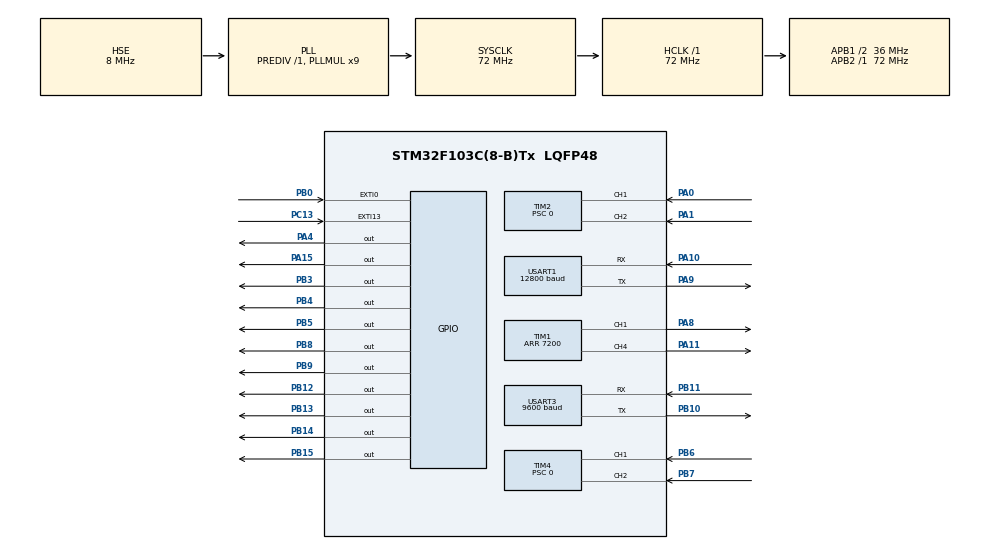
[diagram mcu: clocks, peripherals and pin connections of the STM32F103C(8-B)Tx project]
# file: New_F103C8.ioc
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FREERTOS.HEAP_NUMBER=4
FREERTOS.INCLUDE_vTaskDelayUntil=1
FREERTOS.Tasks01=defaultTask,0,128,StartDefaultTask,Default,NULL,Dynamic,NULL,NULL;TaskMain,0,512,task_main,Default,NULL,Dynamic,NULL,NULL;TaskLcd,-2,128,task_lcd,Default,NULL,Dynamic,NULL,NULL
FREERTOS.configGENERATE_RUN_TIME_STATS=1
FREERTOS.configMAX_TASK_NAME_LEN=32
FREERTOS.configMINIMAL_STACK_SIZE=64
FREERTOS.configTOTAL_HEAP_SIZE=5000
FREERTOS.configUSE_DAEMON_TASK_STARTUP_HOOK=1
FREERTOS.configUSE_IDLE_HOOK=1
FREERTOS.configUSE_MALLOC_FAILED_HOOK=1
FREERTOS.configUSE_STATS_FORMATTING_FUNCTIONS=1
FREERTOS.configUSE_TICKLESS_IDLE=2
FREERTOS.configUSE_TICK_HOOK=1
FREERTOS.configUSE_TIMERS=1
FREERTOS.configUSE_TRACE_FACILITY=1
Mcu.Family=STM32F1
Mcu.Name=STM32F103C(8-B)Tx
Mcu.Package=LQFP48
NVIC.EXTI0_IRQn=true\:0\:0\:false\:false\:true\:false\:true\:true
NVIC.EXTI15_10_IRQn=true\:5\:0\:false\:false\:true\:true\:true\:true
NVIC.PriorityGroup=NVIC_PRIORITYGROUP_4
NVIC.TIM2_IRQn=true\:5\:0\:false\:false\:true\:true\:true\:true
NVIC.TIM3_IRQn=true\:5\:0\:false\:false\:true\:true\:true\:true
NVIC.TIM4_IRQn=true\:5\:0\:false\:false\:true\:true\:true\:true
PA0-WKUP.Signal=S_TIM2_CH1_ETR
PA1.Signal=S_TIM2_CH2
PA10.Mode=Asynchronous
PA10.Signal=USART1_RX
PA11.GPIO_Speed=GPIO_SPEED_FREQ_HIGH
PA11.Signal=S_TIM1_CH4
PA13.Mode=Serial_Wire
PA13.Signal=SYS_JTMS-SWDIO
PA14.Mode=Serial_Wire
PA14.Signal=SYS_JTCK-SWCLK
PA15.Signal=GPIO_Output
PA4.GPIO_Speed=GPIO_SPEED_FREQ_HIGH
PA4.Signal=GPIO_Output
PA8.GPIO_Speed=GPIO_SPEED_FREQ_HIGH
PA8.Signal=S_TIM1_CH1
PA9.Mode=Asynchronous
PA9.Signal=USART1_TX
PB0.Signal=GPXTI0
PB10.Mode=Asynchronous
PB10.Signal=USART3_TX
PB11.Mode=Asynchronous
PB11.Signal=USART3_RX
PB12.GPIO_Speed=GPIO_SPEED_FREQ_HIGH
PB12.Signal=GPIO_Output
PB13.GPIO_Speed=GPIO_SPEED_FREQ_HIGH
PB13.Signal=GPIO_Output
PB14.GPIO_Speed=GPIO_SPEED_FREQ_HIGH
PB14.Signal=GPIO_Output
PB15.GPIO_Speed=GPIO_SPEED_FREQ_HIGH
PB15.Signal=GPIO_Output
PB3.Signal=GPIO_Output
PB4.Signal=GPIO_Output
PB5.Signal=GPIO_Output
PB6.Signal=S_TIM4_CH1
PB7.Signal=S_TIM4_CH2
PB8.GPIO_Speed=GPIO_SPEED_FREQ_HIGH
PB8.Signal=GPIO_Output
PB9.GPIO_Speed=GPIO_SPEED_FREQ_HIGH
PB9.Signal=GPIO_Output
PC13-TAMPER-RTC.Signal=GPXTI13
PC14-OSC32_IN.Mode=LSE-External-Oscillator
PC14-OSC32_IN.Signal=RCC_OSC32_IN
PC15-OSC32_OUT.Mode=LSE-External-Oscillator
PC15-OSC32_OUT.Signal=RCC_OSC32_OUT
PD0-OSC_IN.Mode=HSE-External-Oscillator
PD0-OSC_IN.Signal=RCC_OSC_IN
PD1-OSC_OUT.Mode=HSE-External-Oscillator
PD1-OSC_OUT.Signal=RCC_OSC_OUT
ProjectManager.HeapSize=0x200
ProjectManager.StackSize=0x400
ProjectManager.TargetToolchain=MDK-ARM V5
RCC.AHBFreq_Value=72000000
RCC.APB1CLKDivider=RCC_HCLK_DIV2
RCC.APB1Freq_Value=36000000
RCC.APB1TimFreq_Value=72000000
RCC.APB2Freq_Value=72000000
RCC.APB2TimFreq_Value=72000000
RCC.HCLKFreq_Value=72000000
RCC.PLLMUL=RCC_PLL_MUL9
RCC.PLLSourceVirtual=RCC_PLLSOURCE_HSE
RCC.SYSCLKFreq_VALUE=72000000
RCC.SYSCLKSource=RCC_SYSCLKSOURCE_PLLCLK
RCC.USBFreq_Value=72000000
SH.S_TIM1_CH1.0=TIM1_CH1,PWM Generation1 CH1
SH.S_TIM1_CH4.0=TIM1_CH4,PWM Generation4 CH4
SH.S_TIM2_CH1_ETR.0=TIM2_CH1,Encoder_Interface
SH.S_TIM2_CH2.0=TIM2_CH2,Encoder_Interface
SH.S_TIM4_CH1.0=TIM4_CH1,Encoder_Interface
SH.S_TIM4_CH2.0=TIM4_CH2,Encoder_Interface
TIM1.Channel-PWM\ Generation1\ CH1=TIM_CHANNEL_1
TIM1.Channel-PWM\ Generation4\ CH4=TIM_CHANNEL_4
TIM1.Period=7200
TIM1.Pulse-PWM\ Generation1\ CH1=100
TIM1.Pulse-PWM\ Generation4\ CH4=101
TIM2.EncoderMode=TIM_ENCODERMODE_TI12
TIM2.IC1Filter=15
TIM2.IC2Filter=15
TIM2.Period=0xffff
TIM2.Prescaler=0
TIM3.Period=4999
TIM3.Prescaler=71
TIM4.EncoderMode=TIM_ENCODERMODE_TI12
TIM4.IC1Filter=15
TIM4.IC2Filter=15
TIM4.Period=0xffff
TIM4.Prescaler=0
USART1.BaudRate=12800
USART1.VirtualMode=VM_ASYNC
USART3.BaudRate=9600
USART3.VirtualMode=VM_ASYNC
VP_FREERTOS_VS_CMSIS_V1.Mode=CMSIS_V1
VP_TIM1_VS_ClockSourceINT.Mode=Internal
VP_TIM3_VS_ClockSourceINT.Mode=Internal
board=custom

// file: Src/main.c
/* USER CODE BEGIN Header */
/**
  ******************************************************************************
  * @file           : main.c
  * @brief          : Main program body
  ******************************************************************************
  * @attention
  *
  * <h2><center>&copy; Copyright (c) 2019 STMicroelectronics.
  * All rights reserved.</center></h2>
  *
  * This software component is licensed by ST under BSD 3-Clause license,
  * the "License"; You may not use this file except in compliance with the
  * License. You may obtain a copy of the License at:
  *                        opensource.org/licenses/BSD-3-Clause
  *
  ******************************************************************************
  */
/* USER CODE END Header */

#include "main.h"
#include "cmsis_os.h"
#include "tim.h"
#include "usart.h"
#include "gpio.h"

/* USER CODE BEGIN Includes */
#include "test.h"

/* USER CODE END Includes */

void SystemClock_Config(void);
void MX_FREERTOS_Init(void);

/* USER CODE BEGIN 0 */

#define delay_ms    HAL_Delay

TYPE_MPU6050 gMpu = {0};

/* USER CODE END 0 */

int main(void)
{

  /* MCU Configuration--------------------------------------------------------*/

  /* Reset of all peripherals, Initializes the Flash interface and the Systick. */
  HAL_Init();

  /* Configure the system clock */
  SystemClock_Config();

  /* Initialize all configured peripherals */
  MX_GPIO_Init();
  MX_TIM4_Init();
  MX_TIM1_Init();
  MX_TIM2_Init();
  MX_TIM3_Init();
  MX_USART1_UART_Init();
  MX_USART3_UART_Init();
  /* USER CODE BEGIN 2 */

    HAL_TIM_Base_Start_IT(&htim3);
    HAL_TIM_IC_Start_IT(&htim2, TIM_CHANNEL_1);
    HAL_TIM_IC_Start_IT(&htim2, TIM_CHANNEL_2);

    HAL_TIM_IC_Start_IT(&htim4, TIM_CHANNEL_1);
    HAL_TIM_IC_Start_IT(&htim4, TIM_CHANNEL_2);

    moto_dir_ctrl(1, 1);

    pid_init(&pid_l, -80, -0.4, 0, 10000);
    pid_init(&pid_r, -80, -0.4, 0, 10000);
    pid_init(&pid_balance, 850*0.6, 0, 22*0.6, 0);

//    pid_init(&pid_balance, 700, 0, 12, 0);

    OLED_Init();
    OLED_ShowString(0, 0, "  HELLO WORLD!  ");
    OLED_Refresh_Gram();

    MPU_Init();					//初始化MPU6050

    while(mpu_dmp_init())
    {

        delay_ms(1000);
    }

  /* USER CODE END 2 */

  /* Call init function for freertos objects (in freertos.c) */
  MX_FREERTOS_Init();
  /* Start scheduler */
  osKernelStart();

  /* We should never get here as control is now taken by the scheduler */
  /* Infinite loop */
    while (1)
    {

    }
}

void SystemClock_Config(void)
{
  RCC_OscInitTypeDef RCC_OscInitStruct = {0};
  RCC_ClkInitTypeDef RCC_ClkInitStruct = {0};

  /** Initializes the CPU, AHB and APB busses clocks
  */
  RCC_OscInitStruct.OscillatorType = RCC_OSCILLATORTYPE_HSE;
  RCC_OscInitStruct.HSEState = RCC_HSE_ON;
  RCC_OscInitStruct.HSEPredivValue = RCC_HSE_PREDIV_DIV1;
  RCC_OscInitStruct.HSIState = RCC_HSI_ON;
  RCC_OscInitStruct.PLL.PLLState = RCC_PLL_ON;
  RCC_OscInitStruct.PLL.PLLSource = RCC_PLLSOURCE_HSE;
  RCC_OscInitStruct.PLL.PLLMUL = RCC_PLL_MUL9;
  if (HAL_RCC_OscConfig(&RCC_OscInitStruct) != HAL_OK)
  {
    Error_Handler();
  }
  /** Initializes the CPU, AHB and APB busses clocks
  */
  RCC_ClkInitStruct.ClockType = RCC_CLOCKTYPE_HCLK|RCC_CLOCKTYPE_SYSCLK
                              |RCC_CLOCKTYPE_PCLK1|RCC_CLOCKTYPE_PCLK2;
  RCC_ClkInitStruct.SYSCLKSource = RCC_SYSCLKSOURCE_PLLCLK;
  RCC_ClkInitStruct.AHBCLKDivider = RCC_SYSCLK_DIV1;
  RCC_ClkInitStruct.APB1CLKDivider = RCC_HCLK_DIV2;
  RCC_ClkInitStruct.APB2CLKDivider = RCC_HCLK_DIV1;

  if (HAL_RCC_ClockConfig(&RCC_ClkInitStruct, FLASH_LATENCY_2) != HAL_OK)
  {
    Error_Handler();
  }
}

void Error_Handler(void)
{
}

/************************ (C) COPYRIGHT STMicroelectronics *****END OF FILE****/

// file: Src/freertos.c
/* USER CODE BEGIN Header */
/**
  ******************************************************************************
  * File Name          : freertos.c
  * Description        : Code for freertos applications
  ******************************************************************************
  * @attention
  *
  * <h2><center>&copy; Copyright (c) 2019 STMicroelectronics.
  * All rights reserved.</center></h2>
  *
  * This software component is licensed by ST under Ultimate Liberty license
  * SLA0044, the "License"; You may not use this file except in compliance with
  * the License. You may obtain a copy of the License at:
  *                             www.st.com/SLA0044
  *
  ******************************************************************************
  */
/* USER CODE END Header */

#include "FreeRTOS.h"
#include "task.h"
#include "main.h"
#include "cmsis_os.h"

osThreadId defaultTaskHandle;
osThreadId TaskMainHandle;
osThreadId TaskLcdHandle;

void StartDefaultTask(void const * argument);
void task_main(void const * argument);
void task_lcd(void const * argument);

void MX_FREERTOS_Init(void); /* (MISRA C 2004 rule 8.1) */

/* GetIdleTaskMemory prototype (linked to static allocation support) */
void vApplicationGetIdleTaskMemory( StaticTask_t **ppxIdleTaskTCBBuffer, StackType_t **ppxIdleTaskStackBuffer, uint32_t *pulIdleTaskStackSize );

/* GetTimerTaskMemory prototype (linked to static allocation support) */
void vApplicationGetTimerTaskMemory( StaticTask_t **ppxTimerTaskTCBBuffer, StackType_t **ppxTimerTaskStackBuffer, uint32_t *pulTimerTaskStackSize );

/* Hook prototypes */
void configureTimerForRunTimeStats(void);
unsigned long getRunTimeCounterValue(void);
void vApplicationIdleHook(void);
void vApplicationTickHook(void);
void vApplicationMallocFailedHook(void);
void vApplicationDaemonTaskStartupHook(void);

/* USER CODE BEGIN 1 */
/* Functions needed when configGENERATE_RUN_TIME_STATS is on */
__weak void configureTimerForRunTimeStats(void)
{

}

__weak unsigned long getRunTimeCounterValue(void)
{
    return 0;
}
/* USER CODE END 1 */

/* USER CODE BEGIN 2 */
__weak void vApplicationIdleHook( void )
{

    /* vApplicationIdleHook() will only be called if configUSE_IDLE_HOOK is set
    to 1 in FreeRTOSConfig.h. It will be called on each iteration of the idle
    task. It is essential that code added to this hook function never attempts
    to block in any way (for example, call xQueueReceive() with a block time
    specified, or call vTaskDelay()). If the application makes use of the
    vTaskDelete() API function (as this demo application does) then it is also
    important that vApplicationIdleHook() is permitted to return to its calling
    function, because it is the responsibility of the idle task to clean up
    memory allocated by the kernel to any task that has since been deleted. */
}
/* USER CODE END 2 */

/* USER CODE BEGIN 3 */
__weak void vApplicationTickHook( void )
{
    /* This function will be called by each tick interrupt if
    configUSE_TICK_HOOK is set to 1 in FreeRTOSConfig.h. User code can be
    added here, but the tick hook is called from an interrupt context, so
    code must not attempt to block, and only the interrupt safe FreeRTOS API
    functions can be used (those that end in FromISR()). */
}
/* USER CODE END 3 */

/* USER CODE BEGIN 5 */
__weak void vApplicationMallocFailedHook(void)
{
    /* vApplicationMallocFailedHook() will only be called if
    configUSE_MALLOC_FAILED_HOOK is set to 1 in FreeRTOSConfig.h. It is a hook
    function that will get called if a call to pvPortMalloc() fails.
    pvPortMalloc() is called internally by the kernel whenever a task, queue,
    timer or semaphore is created. It is also called by various parts of the
    demo application. If heap_1.c or heap_2.c are used, then the size of the
    heap available to pvPortMalloc() is defined by configTOTAL_HEAP_SIZE in
    FreeRTOSConfig.h, and the xPortGetFreeHeapSize() API function can be used
    to query the size of free heap space that remains (although it does not
    provide information on how the remaining heap might be fragmented). */
}
/* USER CODE END 5 */

/* USER CODE BEGIN DAEMON_TASK_STARTUP_HOOK */
void vApplicationDaemonTaskStartupHook(void)
{
}
/* USER CODE END DAEMON_TASK_STARTUP_HOOK */

/* USER CODE BEGIN VPORT_SUPPORT_TICKS_AND_SLEEP */
__weak void vPortSuppressTicksAndSleep( TickType_t xExpectedIdleTime )
{
    // Generated when configUSE_TICKLESS_IDLE == 2.
    // Function called in tasks.c (in portTASK_FUNCTION).
    // TO BE COMPLETED or TO BE REPLACED by a user one, overriding that weak one.
}
/* USER CODE END VPORT_SUPPORT_TICKS_AND_SLEEP */

/* USER CODE BEGIN GET_IDLE_TASK_MEMORY */
static StaticTask_t xIdleTaskTCBBuffer;
static StackType_t xIdleStack[configMINIMAL_STACK_SIZE];

void vApplicationGetIdleTaskMemory( StaticTask_t **ppxIdleTaskTCBBuffer, StackType_t **ppxIdleTaskStackBuffer, uint32_t *pulIdleTaskStackSize )
{
  *ppxIdleTaskTCBBuffer = &xIdleTaskTCBBuffer;
  *ppxIdleTaskStackBuffer = &xIdleStack[0];
  *pulIdleTaskStackSize = configMINIMAL_STACK_SIZE;
  /* place for user code */
}
/* USER CODE END GET_IDLE_TASK_MEMORY */

/* USER CODE BEGIN GET_TIMER_TASK_MEMORY */
static StaticTask_t xTimerTaskTCBBuffer;
static StackType_t xTimerStack[configTIMER_TASK_STACK_DEPTH];

void vApplicationGetTimerTaskMemory( StaticTask_t **ppxTimerTaskTCBBuffer, StackType_t **ppxTimerTaskStackBuffer, uint32_t *pulTimerTaskStackSize )
{
  *ppxTimerTaskTCBBuffer = &xTimerTaskTCBBuffer;
  *ppxTimerTaskStackBuffer = &xTimerStack[0];
  *pulTimerTaskStackSize = configTIMER_TASK_STACK_DEPTH;
  /* place for user code */
}
/* USER CODE END GET_TIMER_TASK_MEMORY */

void MX_FREERTOS_Init(void) {

  /* Create the thread(s) */
  /* definition and creation of defaultTask */
  osThreadDef(defaultTask, StartDefaultTask, osPriorityNormal, 0, 128);
  defaultTaskHandle = osThreadCreate(osThread(defaultTask), NULL);

  /* definition and creation of TaskMain */
  osThreadDef(TaskMain, task_main, osPriorityNormal, 0, 512);
  TaskMainHandle = osThreadCreate(osThread(TaskMain), NULL);

  /* definition and creation of TaskLcd */
  osThreadDef(TaskLcd, task_lcd, osPriorityLow, 0, 128);
  TaskLcdHandle = osThreadCreate(osThread(TaskLcd), NULL);

}

void StartDefaultTask(void const * argument)
{
    for(;;)
    {
        osDelay(1);
    }
}

void task_main(void const * argument)
{
  /* USER CODE BEGIN task_main */
    short Gyro_X;
    short Gyro_Y;
    short Gyro_Z;

    static uint32_t task_main_cnt = 0;
    static uint32_t start_cnt = 0;
    static int pwm_offset = 500;	//电机死区
    /* Infinite loop */
    for(;;)
    {

        task_main_cnt++;
        start_cnt++;
        if(task_main_cnt % 2 == 0)
        {
            moto_get_speed(LEFT);
            moto_get_speed(RIGHT);
        }

        //读取陀螺仪数据
        if(mpu_dmp_get_data(&gMpu.euler.pitch, &gMpu.euler.roll, &gMpu.euler.yaw) == 0)
        {
            gMpu.temp = MPU_Get_Temperature() / 100.0;		//得到温度值
            MPU_Get_Accelerometer(&gMpu.accel.x, &gMpu.accel.y, &gMpu.accel.z);	//得到加速度传感器数据
            MPU_Get_Gyroscope(&Gyro_X, &Gyro_Y, &Gyro_Z);		//得到陀螺仪数据

            gMpu.gyro.x = Gyro_X;
            gMpu.gyro.y = Gyro_Y;
            gMpu.gyro.z = Gyro_Z;

            //获得倾角
            get_angle(2);
            //PWM清零
            gMotor_r.pwm_cnt = 0;
            gMotor_l.pwm_cnt = 0;

            //平衡环
            balance_ctrl(gMpu.balance_angle, gMpu.gyro.x);

            //速度环
            speed_ctrl();

            //确定转动方向
            if(gMotor_r.pwm_cnt > 0)
            {
                gMotor_r.direction = 1;
                gMotor_l.direction = 1;

                gMotor_r.pwm_cnt += pwm_offset;//电机死区
                gMotor_l.pwm_cnt += pwm_offset;

                //设置方向
//			moto_set_pwm_cnt(LEFT, 0);
//			moto_set_pwm_cnt(RIGHT, 0);
                moto_dir_ctrl(gMotor_l.direction, gMotor_r.direction);

            }
            else
            {
                gMotor_r.direction = 0;
                gMotor_l.direction = 0;

                //设置方向
//			moto_set_pwm_cnt(LEFT, 0);
//			moto_set_pwm_cnt(RIGHT, 0);
                moto_dir_ctrl(gMotor_l.direction, gMotor_r.direction);

                //转换为正值
                gMotor_l.pwm_cnt = -gMotor_l.pwm_cnt;
                gMotor_r.pwm_cnt = -gMotor_r.pwm_cnt;

                gMotor_r.pwm_cnt += pwm_offset;
                gMotor_l.pwm_cnt += pwm_offset;
            }

            //消除电机左右摩擦力不同
            gMotor_l.pwm_cnt = 1.2*gMotor_r.pwm_cnt;

            //PWM限幅
            if(gMotor_l.pwm_cnt > 7000)
            {
                gMotor_l.pwm_cnt = 7000;
            }

            if(gMotor_r.pwm_cnt > 7000)
            {
                gMotor_r.pwm_cnt = 7000;
            }

            //倾角过大关闭电机
            if(gMpu.euler.roll > 40)
            {
                gMotor_l.pwm_cnt = 0;
                gMotor_r.pwm_cnt = 0;

                pid_l.ei = 0;
                pid_r.ei = 0;
            }
            if(gMpu.euler.roll < -40)
            {
                gMotor_l.pwm_cnt = 0;
                gMotor_r.pwm_cnt = 0;

                pid_l.ei = 0;
                pid_r.ei = 0;
            }

            //刚开机数据不稳，不刷新PWM数据
            if(start_cnt >= 500)
            {
                start_cnt = 500;
                if(gMotor_l.pwm_old_cnt != gMotor_l.pwm_cnt)
                {
                    gMotor_l.pwm_old_cnt = gMotor_l.pwm_cnt;
                    moto_set_pwm_cnt(LEFT, gMotor_l.pwm_cnt);
                }
                if(gMotor_r.pwm_old_cnt != gMotor_r.pwm_cnt)
                {
                    gMotor_r.pwm_old_cnt = gMotor_r.pwm_cnt;
                    moto_set_pwm_cnt(RIGHT, gMotor_r.pwm_cnt);
                }
            }

        }

        osDelay(5);
    }
  /* USER CODE END task_main */
}

void task_lcd(void const * argument)
{
  /* USER CODE BEGIN task_lcd */
    uint8_t show_buff[40] = {0};
    uint8_t i = 0;
    uint16_t usage = 0.0;
    /* Infinite loop */
    for(;;)
    {
        sprintf((char*)show_buff, "PITCH:%03.2f", gMpu.balance_angle);
        OLED_ShowString(0, 12, show_buff);
        sprintf((char*)show_buff, "V_L:%-3d", gMotor_l.speed_get);
        OLED_ShowString(0, 24, show_buff);
        sprintf((char*)show_buff, "V_R:%-3d", gMotor_r.speed_get);
        OLED_ShowString(64, 24, show_buff);

        usage = osGetCPUUsage();
        sprintf((char*)show_buff, "CPU:%3d%%", usage);
        OLED_ShowString(0, 36, show_buff);

        OLED_Refresh_Gram();
        i++;
        if(i >= 10)
        {
            i = 0;
            HAL_GPIO_TogglePin(GPIOA, GPIO_PIN_4);
        }

        osDelay(50);
    }
  /* USER CODE END task_lcd */
}

/************************ (C) COPYRIGHT STMicroelectronics *****END OF FILE****/
